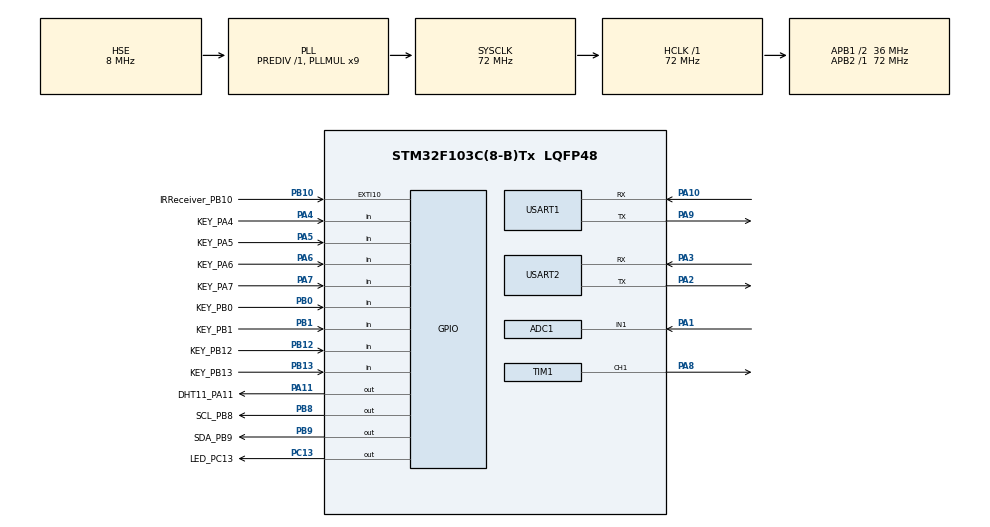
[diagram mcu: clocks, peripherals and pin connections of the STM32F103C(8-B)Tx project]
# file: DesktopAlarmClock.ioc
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ADC1.Channel-1\#ChannelRegularConversion=ADC_CHANNEL_1
ADC1.NbrOfConversionFlag=1
ADC1.Rank-1\#ChannelRegularConversion=1
ADC1.SamplingTime-1\#ChannelRegularConversion=ADC_SAMPLETIME_1CYCLE_5
ADC1.master=1
FREERTOS.Tasks01=defaultTask,24,128,StartDefaultTask,Default,NULL,Dynamic,NULL,NULL
FREERTOS.configTOTAL_HEAP_SIZE=5120
FREERTOS.configUSE_IDLE_HOOK=1
FREERTOS.configUSE_STATS_FORMATTING_FUNCTIONS=1
Mcu.Family=STM32F1
Mcu.Name=STM32F103C(8-B)Tx
Mcu.Package=LQFP48
NVIC.ADC1_2_IRQn=true\:5\:0\:false\:false\:true\:true\:true\:true\:true
NVIC.PriorityGroup=NVIC_PRIORITYGROUP_4
NVIC.TIM2_IRQn=true\:5\:0\:false\:false\:true\:true\:true\:true\:true
NVIC.TIM3_IRQn=true\:5\:0\:false\:false\:true\:true\:true\:true\:true
NVIC.TIM4_IRQn=true\:15\:0\:false\:false\:true\:false\:false\:true\:true
NVIC.TimeBase=TIM4_IRQn
NVIC.TimeBaseIP=TIM4
PA1.Signal=ADCx_IN1
PA10.Mode=Asynchronous
PA10.Signal=USART1_RX
PA11.GPIO_Label=DHT11_PA11
PA11.GPIO_ModeDefaultOutputPP=GPIO_MODE_OUTPUT_OD
PA11.GPIO_PuPd=GPIO_PULLUP
PA11.GPIO_Speed=GPIO_SPEED_FREQ_LOW
PA11.Signal=GPIO_Output
PA13.Mode=Serial_Wire
PA13.Signal=SYS_JTMS-SWDIO
PA14.Mode=Serial_Wire
PA14.Signal=SYS_JTCK-SWCLK
PA2.Mode=Asynchronous
PA2.Signal=USART2_TX
PA3.Mode=Asynchronous
PA3.Signal=USART2_RX
PA4.GPIO_Label=KEY_PA4
PA4.GPIO_PuPd=GPIO_PULLUP
PA4.Signal=GPIO_Input
PA5.GPIO_Label=KEY_PA5
PA5.GPIO_PuPd=GPIO_PULLUP
PA5.Signal=GPIO_Input
PA6.GPIO_Label=KEY_PA6
PA6.GPIO_PuPd=GPIO_PULLUP
PA6.Signal=GPIO_Input
PA7.GPIO_Label=KEY_PA7
PA7.GPIO_PuPd=GPIO_PULLUP
PA7.Signal=GPIO_Input
PA8.Signal=S_TIM1_CH1
PA9.Mode=Asynchronous
PA9.Signal=USART1_TX
PB0.GPIO_Label=KEY_PB0
PB0.GPIO_PuPd=GPIO_PULLUP
PB0.Signal=GPIO_Input
PB1.GPIO_Label=KEY_PB1
PB1.GPIO_PuPd=GPIO_PULLUP
PB1.Signal=GPIO_Input
PB10.GPIO_Label=IRReceiver_PB10
PB10.GPIO_PuPd=GPIO_PULLUP
PB10.Signal=GPXTI10
PB12.GPIO_Label=KEY_PB12
PB12.GPIO_PuPd=GPIO_PULLUP
PB12.Signal=GPIO_Input
PB13.GPIO_Label=KEY_PB13
PB13.GPIO_PuPd=GPIO_PULLUP
PB13.Signal=GPIO_Input
PB8.GPIO_Label=SCL_PB8
PB8.GPIO_ModeDefaultOutputPP=GPIO_MODE_OUTPUT_OD
PB8.GPIO_PuPd=GPIO_NOPULL
PB8.GPIO_Speed=GPIO_SPEED_FREQ_HIGH
PB8.Signal=GPIO_Output
PB9.GPIO_Label=SDA_PB9
PB9.GPIO_ModeDefaultOutputPP=GPIO_MODE_OUTPUT_OD
PB9.GPIO_PuPd=GPIO_NOPULL
PB9.GPIO_Speed=GPIO_SPEED_FREQ_HIGH
PB9.Signal=GPIO_Output
PC13-TAMPER-RTC.GPIO_Label=LED_PC13
PC13-TAMPER-RTC.Signal=GPIO_Output
PD0-OSC_IN.Mode=HSE-External-Oscillator
PD0-OSC_IN.Signal=RCC_OSC_IN
PD1-OSC_OUT.Mode=HSE-External-Oscillator
PD1-OSC_OUT.Signal=RCC_OSC_OUT
ProjectManager.HeapSize=0x200
ProjectManager.StackSize=0x400
ProjectManager.TargetToolchain=MDK-ARM V5.32
RCC.ADCPresc=RCC_ADCPCLK2_DIV6
RCC.AHBFreq_Value=72000000
RCC.APB1CLKDivider=RCC_HCLK_DIV2
RCC.APB1Freq_Value=36000000
RCC.APB1TimFreq_Value=72000000
RCC.APB2Freq_Value=72000000
RCC.APB2TimFreq_Value=72000000
RCC.HCLKFreq_Value=72000000
RCC.PLLMUL=RCC_PLL_MUL9
RCC.PLLSourceVirtual=RCC_PLLSOURCE_HSE
RCC.SYSCLKFreq_VALUE=72000000
RCC.SYSCLKSource=RCC_SYSCLKSOURCE_PLLCLK
RCC.USBFreq_Value=72000000
SH.ADCx_IN1.0=ADC1_IN1,IN1
SH.S_TIM1_CH1.0=TIM1_CH1,PWM Generation1 CH1
TIM1.AutoReloadPreload=TIM_AUTORELOAD_PRELOAD_ENABLE
TIM1.Channel-PWM\ Generation1\ CH1=TIM_CHANNEL_1
TIM1.Period=1000 - 1
TIM1.Prescaler=72 - 1
TIM1.Pulse-PWM\ Generation1\ CH1=500 - 1
TIM2.Period=100 - 1
TIM2.Prescaler=7200 - 1
TIM3.Period=500 - 1
TIM3.Prescaler=7200 - 1
USART1.VirtualMode=VM_ASYNC
USART2.VirtualMode=VM_ASYNC
VP_FREERTOS_VS_CMSIS_V2.Mode=CMSIS_V2
VP_SYS_VS_tim4.Mode=TIM4
VP_TIM1_VS_ClockSourceINT.Mode=Internal
VP_TIM2_VS_ClockSourceINT.Mode=Internal
VP_TIM3_VS_ClockSourceINT.Mode=Internal
board=custom

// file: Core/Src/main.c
/* USER CODE BEGIN Header */
/**
  ******************************************************************************
  * @file           : main.c
  * @brief          : Main program body
  ******************************************************************************
  * @attention
  *
  * Copyright (c) 2024 STMicroelectronics.
  * All rights reserved.
  *
  * This software is licensed under terms that can be found in the LICENSE file
  * in the root directory of this software component.
  * If no LICENSE file comes with this software, it is provided AS-IS.
  *
  ******************************************************************************
  */
/* USER CODE END Header */
#include "main.h"
#include "cmsis_os.h"
#include "adc.h"
#include "tim.h"
#include "usart.h"
#include "gpio.h"

/* USER CODE BEGIN Includes */
#include "Time.h"
#include "driver_Key.h"
/* USER CODE END Includes */

void SystemClock_Config(void);
void MX_FREERTOS_Init(void);

int main(void)
{

  /* MCU Configuration--------------------------------------------------------*/

  /* Reset of all peripherals, Initializes the Flash interface and the Systick. */
  HAL_Init();

  /* Configure the system clock */
  SystemClock_Config();

  /* Initialize all configured peripherals */
  MX_GPIO_Init();
  MX_TIM1_Init();
  MX_TIM3_Init();
  MX_USART1_UART_Init();
  MX_USART2_UART_Init();
  MX_ADC1_Init();
  MX_TIM2_Init();
  /* USER CODE BEGIN 2 */
  HAL_TIM_Base_Start_IT(&htim2);
  HAL_TIM_Base_Start_IT(&htim3);
  /* USER CODE END 2 */

  /* Init scheduler */
  osKernelInitialize();

  /* Call init function for freertos objects (in cmsis_os2.c) */
  MX_FREERTOS_Init();

  /* Start scheduler */
  osKernelStart();

  /* We should never get here as control is now taken by the scheduler */

  /* Infinite loop */
  while (1)
  {

  }
}

void SystemClock_Config(void)
{
  RCC_OscInitTypeDef RCC_OscInitStruct = {0};
  RCC_ClkInitTypeDef RCC_ClkInitStruct = {0};
  RCC_PeriphCLKInitTypeDef PeriphClkInit = {0};

  /** Initializes the RCC Oscillators according to the specified parameters
  * in the RCC_OscInitTypeDef structure.
  */
  RCC_OscInitStruct.OscillatorType = RCC_OSCILLATORTYPE_HSE;
  RCC_OscInitStruct.HSEState = RCC_HSE_ON;
  RCC_OscInitStruct.HSEPredivValue = RCC_HSE_PREDIV_DIV1;
  RCC_OscInitStruct.HSIState = RCC_HSI_ON;
  RCC_OscInitStruct.PLL.PLLState = RCC_PLL_ON;
  RCC_OscInitStruct.PLL.PLLSource = RCC_PLLSOURCE_HSE;
  RCC_OscInitStruct.PLL.PLLMUL = RCC_PLL_MUL9;
  if (HAL_RCC_OscConfig(&RCC_OscInitStruct) != HAL_OK)
  {
    Error_Handler();
  }

  /** Initializes the CPU, AHB and APB buses clocks
  */
  RCC_ClkInitStruct.ClockType = RCC_CLOCKTYPE_HCLK|RCC_CLOCKTYPE_SYSCLK
                              |RCC_CLOCKTYPE_PCLK1|RCC_CLOCKTYPE_PCLK2;
  RCC_ClkInitStruct.SYSCLKSource = RCC_SYSCLKSOURCE_PLLCLK;
  RCC_ClkInitStruct.AHBCLKDivider = RCC_SYSCLK_DIV1;
  RCC_ClkInitStruct.APB1CLKDivider = RCC_HCLK_DIV2;
  RCC_ClkInitStruct.APB2CLKDivider = RCC_HCLK_DIV1;

  if (HAL_RCC_ClockConfig(&RCC_ClkInitStruct, FLASH_LATENCY_2) != HAL_OK)
  {
    Error_Handler();
  }
  PeriphClkInit.PeriphClockSelection = RCC_PERIPHCLK_ADC;
  PeriphClkInit.AdcClockSelection = RCC_ADCPCLK2_DIV6;
  if (HAL_RCCEx_PeriphCLKConfig(&PeriphClkInit) != HAL_OK)
  {
    Error_Handler();
  }
}

void HAL_TIM_PeriodElapsedCallback(TIM_HandleTypeDef *htim)
{
  if (htim->Instance == TIM4) {
    HAL_IncTick();
  }
  /* USER CODE BEGIN Callback 1 */
  if ( htim->Instance == TIM3 )
  {
    Scan_Key();
  }

  if ( htim->Instance == TIM2 )
  {
    Get_Time();
  }
  /* USER CODE END Callback 1 */
}

void Error_Handler(void)
{
  __disable_irq();
  while (1)
  {
  }
}

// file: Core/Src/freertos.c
/* USER CODE BEGIN Header */
/**
  ******************************************************************************
  * File Name          : freertos.c
  * Description        : Code for freertos applications
  ******************************************************************************
  * @attention
  *
  * Copyright (c) 2024 STMicroelectronics.
  * All rights reserved.
  *
  * This software is licensed under terms that can be found in the LICENSE file
  * in the root directory of this software component.
  * If no LICENSE file comes with this software, it is provided AS-IS.
  *
  ******************************************************************************
  */
/* USER CODE END Header */

#include "FreeRTOS.h"
#include "task.h"
#include "main.h"
#include "cmsis_os.h"

/* USER CODE BEGIN Includes */

#include "FreeRTOS.h"                   // ARM.FreeRTOS::RTOS:Core
#include "task.h"                       // ARM.FreeRTOS::RTOS:Core
#include "event_groups.h"               // ARM.FreeRTOS::RTOS:Event Groups
#include "semphr.h"                     // ARM.FreeRTOS::RTOS:Core
#include <stdio.h>

#include "driver_uart.h"
#include "driver_led.h"
#include "driver_Key.h"
#include "driver_timer.h"
#include "HomePage.h"
#include "music.h"

/* USER CODE END Includes */

/* USER CODE BEGIN Variables */
static StackType_t g_pucStackOfLightTask[ 30 ];
static StaticTask_t g_TCBofLightTask;

static StackType_t g_pucStackOfHomePageTask[ 66 ];
static StaticTask_t g_TCBofHomePageTask;

TaskHandle_t xLightTaskHandle;
TaskHandle_t xHomePageTaskHandle;

// static char pcWriteBuffer[200];

/* USER CODE END Variables */
/* Definitions for defaultTask */
osThreadId_t defaultTaskHandle;
const osThreadAttr_t defaultTask_attributes = {
  .name = "defaultTask",
  .stack_size = 128 * 4,
  .priority = (osPriority_t) osPriorityNormal,
};

void StartDefaultTask(void *argument);

void MX_FREERTOS_Init(void); /* (MISRA C 2004 rule 8.1) */

/* Hook prototypes */
void vApplicationIdleHook(void);

/* USER CODE BEGIN 2 */
void vApplicationIdleHook( void )
{
   /* vApplicationIdleHook() will only be called if configUSE_IDLE_HOOK is set
   to 1 in FreeRTOSConfig.h. It will be called on each iteration of the idle
   task. It is essential that code added to this hook function never attempts
   to block in any way (for example, call xQueueReceive() with a block time
   specified, or call vTaskDelay()). If the application makes use of the
   vTaskDelete() API function (as this demo application does) then it is also
   important that vApplicationIdleHook() is permitted to return to its calling
   function, because it is the responsibility of the idle task to clean up
   memory allocated by the kernel to any task that has since been deleted. */
    // uint8_t i;
    // vTaskList( pcWriteBuffer );
    // for ( i = 0; i < 16; i++ )
    // {
    //     printf( "-" );
    // }
    // printf( "\r\n" );
    // printf( "%s\r\n", pcWriteBuffer );
}
/* USER CODE END 2 */

void MX_FREERTOS_Init(void) {
  /* USER CODE BEGIN Init */
  HomePage_Init();
  /* USER CODE END Init */

  /* Create the thread(s) */
  /* creation of defaultTask */
  defaultTaskHandle = osThreadNew(StartDefaultTask, NULL, &defaultTask_attributes);

  /* USER CODE BEGIN RTOS_THREADS */
  /* add threads, ... */

  /* LED闪烁 */
  xLightTaskHandle = xTaskCreateStatic( Led_Test, "LightTest", 30, NULL, osPriorityNormal, g_pucStackOfLightTask, &g_TCBofLightTask );

  /* 主页显示 */
  xHomePageTaskHandle = xTaskCreateStatic( HomePage_Task, "HomePage", 66, NULL, osPriorityNormal, g_pucStackOfHomePageTask, &g_TCBofHomePageTask );

  /* USER CODE END RTOS_THREADS */

}

void StartDefaultTask(void *argument)
{
  for(;;)
  {
    osDelay(1);
  }
}
